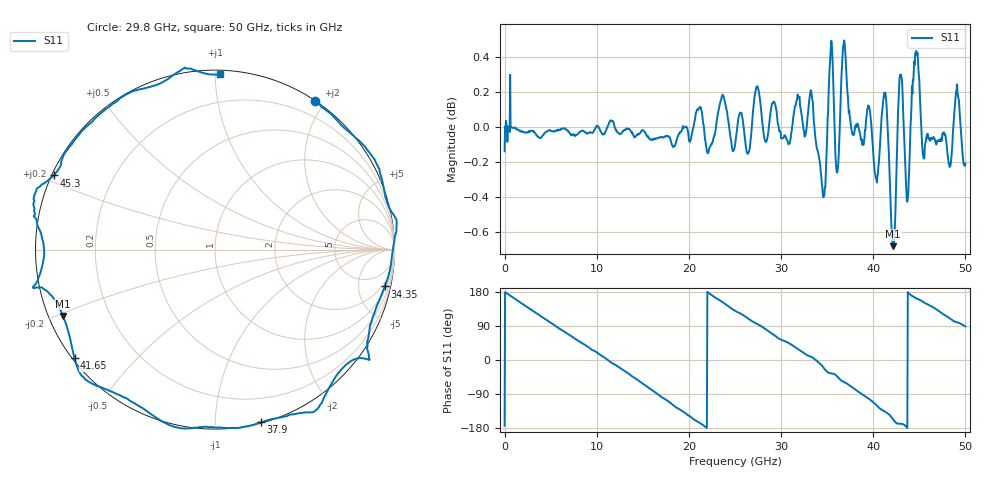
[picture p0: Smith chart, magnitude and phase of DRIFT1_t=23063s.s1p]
!Created with skrf (http://scikit-rf.org).
# Hz S RI R 50.0
!freq ReS11 ImS11
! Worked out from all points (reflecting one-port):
!   1001 points, 300 kHz to 50 GHz, reference 50 ohm
!   lowest |S11| = -0.7 dB at 42.15 GHz (marker M1), VSWR 25.43, Z = 2.05 - j10.4 ohm
!   phase of S11 starts at -174 deg and turns -818 deg over the sweep
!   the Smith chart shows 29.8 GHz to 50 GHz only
!   S11 on the Smith chart (normalised r, x): 29.8 GHz: 0.01, +1.89; 34.35 GHz: 1.37, -9.12; 37.9 GHz: 0.01, -1.30; 41.65 GHz: 0.01, -0.34; 45.3 GHz: 0.01, +0.22; 50 GHz: 0.02, +1.03
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300000  -0.9778 -0.1103
1.450291e9  -0.9123 0.4049
3.25028e9  -0.5919 0.8015
6.250262e9  0.2022 0.978
9.450243e9  0.8864 0.4542
1.250022e10  0.9318 -0.3494
1.580021e10  0.2372 -0.9628
1.74002e10  -0.2235 -0.9681
1.875019e10  -0.5988 -0.7924
2.150017e10  -0.9933 -0.1524
2.350016e10  -0.9233 0.4288
2.500015e10  -0.6322 0.7591
2.740014e10  -0.0952 1.023
2.980012e10  0.5594 0.8254
3.125011e10  0.7866 0.6197
3.31501e10  1.008 0.1722
3.435009e10  0.9466 -0.2055
3.520009e10  0.8536 -0.5745
3.750008e10  0.3703 -0.9344
3.790007e10  0.2535 -0.9619
3.960006e10  -0.2392 -0.9834
4.165005e10  -0.7828 -0.6059
4.215005e10  -0.8471 -0.3698
4.290004e10  -1.013 -0.2115
4.375004e10  -0.954 0.0159
4.530003e10  -0.8981 0.4132
4.770001e10  -0.4876 0.8671
5e10  0.0263 0.9757
